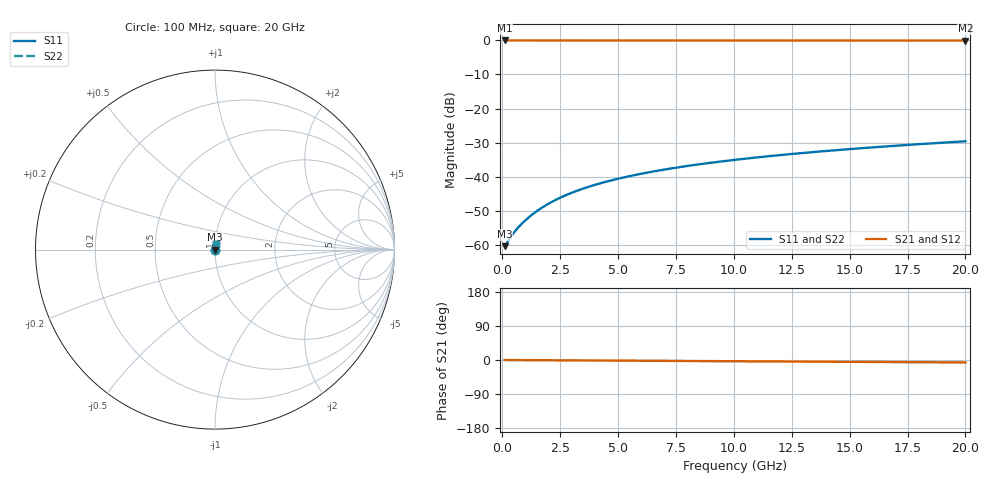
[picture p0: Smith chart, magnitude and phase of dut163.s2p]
! Touchstone file exported from HFSS 2026.1.0
!  File:  C:/ffzhzh/LocalFiles/Ansys_Project_Files/temp_train_TMRDL_163_1782983345_40604.aedt
!  Generated:  05:10:16 PM Jul  2, 2026
!  Design:  TMRDL
!  Project:  temp_train_TMRDL_163_1782983345_40604
! Variables:
!  h_bsmrdl = 2um
!  h_ox = 20um
!  h_rdl = 5um
!  h_sub = 80um
!  h_tmrdl = 4.57um
!  h_tsv = 80um
!  h_via = 3um
!  l_bsmrdl = 300um
!  l_sub = 503.69um
!  l_tmrdl = 103.69um
!  m_sub = 200um
!  pitch = 16.62um
!  r_tsv = 6um
!  s_tmrdl = 10um
!  w_bsmrdl = 18um
!  w_sub = 500um
!  w_tmrdl = 10.13um
!  x_tsv_center1 = 108.755um
!  x_tsv_center2 = 426.755um
!  x_tsv_center3 = 540.575um
!  x_tsv_center4 = 858.575um
!  x_tsv_center5 = 972.395um
!  x_tsv_center6 = 1290.395um
# GHz S MA R 50.000000
! Terminal data exported
! Port[1] = TM_RDL1_1_T1
! Port[2] = TM_RDL1_1_T2
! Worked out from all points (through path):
!   200 points, 100 MHz to 20 GHz, reference 50 ohm
!   highest |S21| = -0.01 dB at 100 MHz (marker M1); lowest = 0.0 dB at 20 GHz (marker M2)
!   lowest |S11| = -60.4 dB at 100 MHz (marker M3), VSWR 1.00, Z = 50.1 + j0.0243 ohm
!   |S11| at or under -10 dB: start of sweep to end of sweep
!   |S22| runs from -60.4 to -29.6 dB; largest |S21 - S12| = 4.1e-15
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0.1  0.0009514 14.8  0.9991 -0.0  0.9991 -0.0  0.0009514 14.8
! Gamma 0 0 0 0
! Port Impedance 50 0 50 0
0.2  0.001062 26.3  0.999 -0.1  0.999 -0.1  0.001062 26.3
0.4  0.001352 40.5  0.999 -0.1  0.999 -0.1  0.001352 40.5
0.5  0.001503 45.1  0.9989 -0.2  0.9989 -0.2  0.001503 45.1
0.7  0.00181 52.2  0.9989 -0.2  0.9989 -0.2  0.00181 52.2
1  0.002287 59.5  0.9988 -0.3  0.9988 -0.3  0.002287 59.5
1.2  0.002618 62.9  0.9988 -0.4  0.9988 -0.4  0.002618 62.9
1.4  0.002958 65.6  0.9988 -0.5  0.9988 -0.5  0.002958 65.6
1.8  0.003653 69.5  0.9987 -0.6  0.9987 -0.6  0.003653 69.5
2.3  0.004539 72.5  0.9987 -0.8  0.9987 -0.8  0.004539 72.5
2.9  0.005611 74.6  0.9986 -1.0  0.9986 -1.0  0.005611 74.6
3.5  0.006679 75.9  0.9985 -1.2  0.9985 -1.2  0.006679 75.9
4.2  0.007915 76.8  0.9983 -1.4  0.9983 -1.4  0.007915 76.8
5  0.009309 77.3  0.9982 -1.7  0.9982 -1.7  0.009309 77.3
5.9  0.01085 77.6  0.998 -1.9  0.998 -1.9  0.01085 77.6
6.8  0.01236 77.8  0.9978 -2.2  0.9978 -2.2  0.01236 77.8
8.3  0.01483 77.8  0.9975 -2.7  0.9975 -2.7  0.01483 77.8
10.1  0.01772 77.7  0.9971 -3.3  0.9971 -3.3  0.01772 77.7
11.7  0.02024 77.6  0.9968 -3.8  0.9968 -3.8  0.02024 77.6
13.4  0.02289 77.4  0.9965 -4.3  0.9965 -4.3  0.02289 77.4
16.7  0.02797 77.0  0.9959 -5.4  0.9959 -5.4  0.02797 77.0
20  0.03299 76.4  0.9954 -6.4  0.9954 -6.4  0.03299 76.4
